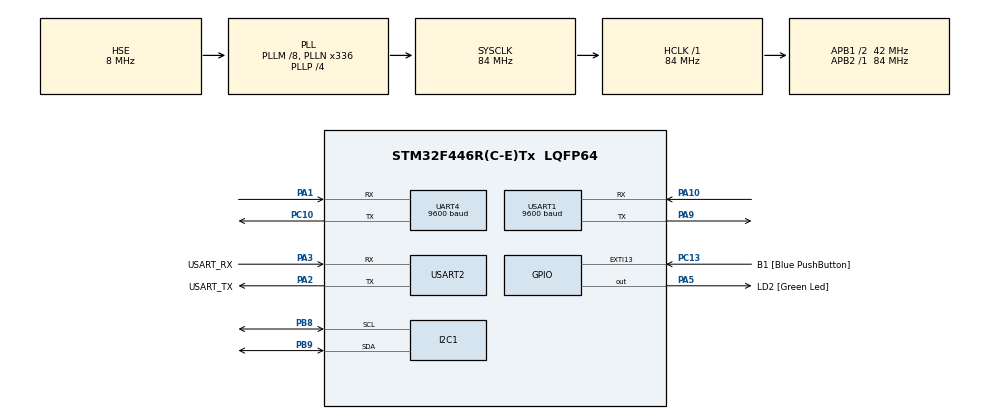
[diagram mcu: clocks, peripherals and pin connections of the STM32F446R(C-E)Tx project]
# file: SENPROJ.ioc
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Mcu.Family=STM32F4
Mcu.Name=STM32F446R(C-E)Tx
Mcu.Package=LQFP64
NVIC.PriorityGroup=NVIC_PRIORITYGROUP_0
NVIC.USART1_IRQn=true\:0\:0\:false\:false\:true\:true
PA0-WKUP.GPIO_Label=BlueButton
PA0-WKUP.Mode=SYS_WakeUp0
PA0-WKUP.Signal=SYS_WKUP0
PA1.Mode=Asynchronous
PA1.Signal=UART4_RX
PA10.Mode=Asynchronous
PA10.Signal=USART1_RX
PA13.GPIO_Label=TMS
PA13.Mode=Serial_Wire
PA13.Signal=SYS_JTMS-SWDIO
PA14.GPIO_Label=TCK
PA14.Mode=Serial_Wire
PA14.Signal=SYS_JTCK-SWCLK
PA2.GPIO_Label=USART_TX
PA2.Mode=Asynchronous
PA2.Signal=USART2_TX
PA3.GPIO_Label=USART_RX
PA3.Mode=Asynchronous
PA3.Signal=USART2_RX
PA5.GPIO_Label=LD2 [Green Led]
PA5.Signal=GPIO_Output
PA9.Mode=Asynchronous
PA9.Signal=USART1_TX
PB8.Mode=I2C
PB8.Signal=I2C1_SCL
PB9.Mode=I2C
PB9.Signal=I2C1_SDA
PC10.Mode=Asynchronous
PC10.Signal=UART4_TX
PC13.GPIO_Label=B1 [Blue PushButton]
PC13.GPIO_ModeDefaultEXTI=GPIO_MODE_IT_FALLING
PC13.Signal=GPXTI13
PC14-OSC32_IN.Mode=LSE-External-Oscillator
PC14-OSC32_IN.Signal=RCC_OSC32_IN
PC15-OSC32_OUT.Mode=LSE-External-Oscillator
PC15-OSC32_OUT.Signal=RCC_OSC32_OUT
PH0-OSC_IN.Mode=HSE-External-Oscillator
PH0-OSC_IN.Signal=RCC_OSC_IN
PH1-OSC_OUT.Mode=HSE-External-Oscillator
PH1-OSC_OUT.Signal=RCC_OSC_OUT
ProjectManager.HeapSize=0x200
ProjectManager.StackSize=0x400
ProjectManager.TargetToolchain=TrueSTUDIO
RCC.48MHZClocksFreq_Value=84000000
RCC.AHBFreq_Value=84000000
RCC.APB1CLKDivider=RCC_HCLK_DIV2
RCC.APB1Freq_Value=42000000
RCC.APB1TimFreq_Value=84000000
RCC.APB2Freq_Value=84000000
RCC.APB2TimFreq_Value=84000000
RCC.CortexFreq_Value=84000000
RCC.FLatency-AdvancedSettings=FLASH_LATENCY_2
RCC.HCLKFreq_Value=84000000
RCC.HSE_VALUE=8000000
RCC.HSI_VALUE=16000000
RCC.PLLM=8
RCC.PLLN=336
RCC.PLLP=RCC_PLLP_DIV4
RCC.PLLSourceVirtual=RCC_PLLSOURCE_HSE
RCC.SYSCLKFreq_VALUE=84000000
RCC.SYSCLKSource=RCC_SYSCLKSOURCE_PLLCLK
RCC.USBFreq_Value=168000000
RCC.VCOOutputFreq_Value=336000000
UART4.BaudRate=9600
UART4.VirtualMode=Asynchronous
USART1.BaudRate=9600
USART1.VirtualMode=VM_ASYNC
USART2.VirtualMode=VM_ASYNC
board=NUCLEO-F446RE

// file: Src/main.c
/**
  ******************************************************************************
  * @file           : main.c
  * @brief          : Main program body
  ******************************************************************************
  ** This notice applies to any and all portions of this file
  * that are not between comment pairs USER CODE BEGIN and
  * USER CODE END. Other portions of this file, whether
  * inserted by the user or by software development tools
  * are owned by their respective copyright owners.
  *
  * COPYRIGHT(c) 2018 STMicroelectronics
  *
  * Redistribution and use in source and binary forms, with or without modification,
  * are permitted provided that the following conditions are met:
  *   1. Redistributions of source code must retain the above copyright notice,
  *      this list of conditions and the following disclaimer.
  *   2. Redistributions in binary form must reproduce the above copyright notice,
  *      this list of conditions and the following disclaimer in the documentation
  *      and/or other materials provided with the distribution.
  *   3. Neither the name of STMicroelectronics nor the names of its contributors
  *      may be used to endorse or promote products derived from this software
  *      without specific prior written permission.
  *
  * THIS SOFTWARE IS PROVIDED BY THE COPYRIGHT HOLDERS AND CONTRIBUTORS "AS IS"
  * AND ANY EXPRESS OR IMPLIED WARRANTIES, INCLUDING, BUT NOT LIMITED TO, THE
  * IMPLIED WARRANTIES OF MERCHANTABILITY AND FITNESS FOR A PARTICULAR PURPOSE ARE
  * DISCLAIMED. IN NO EVENT SHALL THE COPYRIGHT HOLDER OR CONTRIBUTORS BE LIABLE
  * FOR ANY DIRECT, INDIRECT, INCIDENTAL, SPECIAL, EXEMPLARY, OR CONSEQUENTIAL
  * DAMAGES (INCLUDING, BUT NOT LIMITED TO, PROCUREMENT OF SUBSTITUTE GOODS OR
  * SERVICES; LOSS OF USE, DATA, OR PROFITS; OR BUSINESS INTERRUPTION) HOWEVER
  * CAUSED AND ON ANY THEORY OF LIABILITY, WHETHER IN CONTRACT, STRICT LIABILITY,
  * OR TORT (INCLUDING NEGLIGENCE OR OTHERWISE) ARISING IN ANY WAY OUT OF THE USE
  * OF THIS SOFTWARE, EVEN IF ADVISED OF THE POSSIBILITY OF SUCH DAMAGE.
  *
  ******************************************************************************
  */
#include "main.h"
#include "stm32f4xx_hal.h"

/* USER CODE BEGIN Includes */
#include <stdarg.h>
/* USER CODE END Includes */

I2C_HandleTypeDef hi2c1;

UART_HandleTypeDef huart4;
UART_HandleTypeDef huart1;
UART_HandleTypeDef huart2;

/* USER CODE BEGIN PV */
/* Private variables ---------------------------------------------------------*/

const size_t PRINT_DEBUG_BUFFER_SIZE = 512;
const uint8_t I2C_ADDR_ACC = 0b00111100; //0x1e << 1;
const int16_t ACC_CRASH_THRESHOLD = 30000;
uint8_t bluetooth_command = 0;
int16_t last_acc_x = 0, last_acc_y = 0, last_acc_z = 0, last_acc_abs = 0;
int16_t max_acc_x = 0, max_acc_y = 0, max_acc_z = 0, max_acc_abs = 0;

typedef enum {
	INIT_ACC, WAIT_FOR_CRASH, CRASHING, SEND_GPS
} state_t;

state_t state = INIT_ACC;

/* USER CODE END PV */

void SystemClock_Config(void);
static void MX_GPIO_Init(void);
static void MX_USART2_UART_Init(void);
static void MX_I2C1_Init(void);
static void MX_USART1_UART_Init(void);
static void MX_UART4_Init(void);

/* USER CODE BEGIN PFP */
/* Private function prototypes -----------------------------------------------*/

//void write_debug(char *str, uint16_t len);
static void write_debug(char *str, ...);
static uint8_t read_byte(uint8_t addr);
static int16_t read_short(uint8_t addr);
static int16_t absolute(int16_t val);
static HAL_StatusTypeDef read_gps_bytes(uint8_t buffer[], uint8_t len, uint32_t timeout);
static void get_gps_coordinate(int32_t *lat, int32_t *lon);
static void read_acc_data();
static uint8_t read_gps_byte();
void HAL_UART_RxCpltCallback(UART_HandleTypeDef *huart);

/* USER CODE END PFP */

int main(void)
{

  /* MCU Configuration----------------------------------------------------------*/

  /* Reset of all peripherals, Initializes the Flash interface and the Systick. */
  HAL_Init();

  /* Configure the system clock */
  SystemClock_Config();

  /* Initialize all configured peripherals */
  MX_GPIO_Init();
  MX_USART2_UART_Init();
  MX_I2C1_Init();
  MX_USART1_UART_Init();
  MX_UART4_Init();

  /* Infinite loop */
  /* USER CODE BEGIN WHILE */

  HAL_UART_Receive_IT(&huart1, &bluetooth_command, 1);

  while (1)
  {
	  uint8_t alive;
	  switch (state) {
	  case INIT_ACC:
		  alive = read_byte(0x0f);
		  if (alive == 0x49) {
			  uint8_t data[2] = {0x20, 0b01000111};
			  if (HAL_I2C_Master_Transmit(&hi2c1, I2C_ADDR_ACC, data, 2, 0xffff) == HAL_OK) {
				  //state = WAIT_FOR_CRASH;
				  state = SEND_GPS;
			  } else {
				  write_debug("Error while configuring acc.\r\n");
				  HAL_Delay(50);
			  }
		  } else {
			  write_debug("Acc is not connected yet.\r\n");
			  HAL_Delay(1000);
		  }
		  break;
	  case WAIT_FOR_CRASH:
		  // Read data from accelerometer
		  read_acc_data();
		  if (last_acc_abs > ACC_CRASH_THRESHOLD) {
			  state = CRASHING;
			  max_acc_x = last_acc_x;
			  max_acc_y = last_acc_y;
			  max_acc_z = last_acc_z;
			  max_acc_abs = last_acc_abs;
		  }

		  write_debug("Accel: %6d %6d %6d %6d\n", last_acc_x, last_acc_y, last_acc_z,
				  last_acc_abs);
		  HAL_Delay(25);
		  break;
	  case CRASHING:
		  write_debug("Crashing\n");

		  read_acc_data();
		  if (last_acc_abs < ACC_CRASH_THRESHOLD) {
			  state = SEND_GPS;
		  } else if (last_acc_abs > max_acc_abs) {
			  max_acc_x = last_acc_x;
			  max_acc_y = last_acc_y;
			  max_acc_z = last_acc_z;
			  max_acc_abs = last_acc_abs;
		  }
		  break;
	  case SEND_GPS:;
		  int32_t lat = 0, lon = 0;
		  get_gps_coordinate(&lat, &lon);
		  write_debug("Found GPS: lat=%d lon=%d\n", lat, lon);
		  uint8_t msg[100];
		  uint16_t msg_len = (uint16_t) snprintf(msg, 100, "crash;%d;%d;%d;%ld;%ld\r\n",
				  max_acc_x, max_acc_y, max_acc_z, lat, lon);
		  HAL_UART_Transmit(&huart1, msg, msg_len, 1000);
		  state = WAIT_FOR_CRASH;
		  HAL_Delay(500);
		  break;
	  }

  /* USER CODE END WHILE */

  }

}

void SystemClock_Config(void)
{

  RCC_OscInitTypeDef RCC_OscInitStruct;
  RCC_ClkInitTypeDef RCC_ClkInitStruct;

    /**Configure the main internal regulator output voltage
    */
  __HAL_RCC_PWR_CLK_ENABLE();

  __HAL_PWR_VOLTAGESCALING_CONFIG(PWR_REGULATOR_VOLTAGE_SCALE3);

    /**Initializes the CPU, AHB and APB busses clocks
    */
  RCC_OscInitStruct.OscillatorType = RCC_OSCILLATORTYPE_HSE;
  RCC_OscInitStruct.HSEState = RCC_HSE_ON;
  RCC_OscInitStruct.PLL.PLLState = RCC_PLL_ON;
  RCC_OscInitStruct.PLL.PLLSource = RCC_PLLSOURCE_HSE;
  RCC_OscInitStruct.PLL.PLLM = 8;
  RCC_OscInitStruct.PLL.PLLN = 336;
  RCC_OscInitStruct.PLL.PLLP = RCC_PLLP_DIV4;
  RCC_OscInitStruct.PLL.PLLQ = 2;
  RCC_OscInitStruct.PLL.PLLR = 2;
  if (HAL_RCC_OscConfig(&RCC_OscInitStruct) != HAL_OK)
  {
    _Error_Handler(__FILE__, __LINE__);
  }

    /**Initializes the CPU, AHB and APB busses clocks
    */
  RCC_ClkInitStruct.ClockType = RCC_CLOCKTYPE_HCLK|RCC_CLOCKTYPE_SYSCLK
                              |RCC_CLOCKTYPE_PCLK1|RCC_CLOCKTYPE_PCLK2;
  RCC_ClkInitStruct.SYSCLKSource = RCC_SYSCLKSOURCE_PLLCLK;
  RCC_ClkInitStruct.AHBCLKDivider = RCC_SYSCLK_DIV1;
  RCC_ClkInitStruct.APB1CLKDivider = RCC_HCLK_DIV2;
  RCC_ClkInitStruct.APB2CLKDivider = RCC_HCLK_DIV1;

  if (HAL_RCC_ClockConfig(&RCC_ClkInitStruct, FLASH_LATENCY_2) != HAL_OK)
  {
    _Error_Handler(__FILE__, __LINE__);
  }

    /**Configure the Systick interrupt time
    */
  HAL_SYSTICK_Config(HAL_RCC_GetHCLKFreq()/1000);

    /**Configure the Systick
    */
  HAL_SYSTICK_CLKSourceConfig(SYSTICK_CLKSOURCE_HCLK);

  /* SysTick_IRQn interrupt configuration */
  HAL_NVIC_SetPriority(SysTick_IRQn, 0, 0);
}

/* I2C1 init function */
static void MX_I2C1_Init(void)
{

  hi2c1.Instance = I2C1;
  hi2c1.Init.ClockSpeed = 100000;
  hi2c1.Init.DutyCycle = I2C_DUTYCYCLE_2;
  hi2c1.Init.OwnAddress1 = 0;
  hi2c1.Init.AddressingMode = I2C_ADDRESSINGMODE_7BIT;
  hi2c1.Init.DualAddressMode = I2C_DUALADDRESS_DISABLE;
  hi2c1.Init.OwnAddress2 = 0;
  hi2c1.Init.GeneralCallMode = I2C_GENERALCALL_DISABLE;
  hi2c1.Init.NoStretchMode = I2C_NOSTRETCH_DISABLE;
  if (HAL_I2C_Init(&hi2c1) != HAL_OK)
  {
    _Error_Handler(__FILE__, __LINE__);
  }

}

/* UART4 init function */
static void MX_UART4_Init(void)
{

  huart4.Instance = UART4;
  huart4.Init.BaudRate = 9600;
  huart4.Init.WordLength = UART_WORDLENGTH_8B;
  huart4.Init.StopBits = UART_STOPBITS_1;
  huart4.Init.Parity = UART_PARITY_NONE;
  huart4.Init.Mode = UART_MODE_TX_RX;
  huart4.Init.HwFlowCtl = UART_HWCONTROL_NONE;
  huart4.Init.OverSampling = UART_OVERSAMPLING_16;
  if (HAL_UART_Init(&huart4) != HAL_OK)
  {
    _Error_Handler(__FILE__, __LINE__);
  }

}

/* USART1 init function */
static void MX_USART1_UART_Init(void)
{

  huart1.Instance = USART1;
  huart1.Init.BaudRate = 9600;
  huart1.Init.WordLength = UART_WORDLENGTH_8B;
  huart1.Init.StopBits = UART_STOPBITS_1;
  huart1.Init.Parity = UART_PARITY_NONE;
  huart1.Init.Mode = UART_MODE_TX_RX;
  huart1.Init.HwFlowCtl = UART_HWCONTROL_NONE;
  huart1.Init.OverSampling = UART_OVERSAMPLING_16;
  if (HAL_UART_Init(&huart1) != HAL_OK)
  {
    _Error_Handler(__FILE__, __LINE__);
  }

}

/* USART2 init function */
static void MX_USART2_UART_Init(void)
{

  huart2.Instance = USART2;
  huart2.Init.BaudRate = 115200;
  huart2.Init.WordLength = UART_WORDLENGTH_8B;
  huart2.Init.StopBits = UART_STOPBITS_1;
  huart2.Init.Parity = UART_PARITY_NONE;
  huart2.Init.Mode = UART_MODE_TX_RX;
  huart2.Init.HwFlowCtl = UART_HWCONTROL_NONE;
  huart2.Init.OverSampling = UART_OVERSAMPLING_16;
  if (HAL_UART_Init(&huart2) != HAL_OK)
  {
    _Error_Handler(__FILE__, __LINE__);
  }

}

/** Configure pins as
        * Analog
        * Input
        * Output
        * EVENT_OUT
        * EXTI
*/
static void MX_GPIO_Init(void)
{

  GPIO_InitTypeDef GPIO_InitStruct;

  /* GPIO Ports Clock Enable */
  __HAL_RCC_GPIOC_CLK_ENABLE();
  __HAL_RCC_GPIOH_CLK_ENABLE();
  __HAL_RCC_GPIOA_CLK_ENABLE();
  __HAL_RCC_GPIOB_CLK_ENABLE();

  /*Configure GPIO pin Output Level */
  HAL_GPIO_WritePin(LD2_GPIO_Port, LD2_Pin, GPIO_PIN_RESET);

  /*Configure GPIO pin : B1_Pin */
  GPIO_InitStruct.Pin = B1_Pin;
  GPIO_InitStruct.Mode = GPIO_MODE_IT_FALLING;
  GPIO_InitStruct.Pull = GPIO_NOPULL;
  HAL_GPIO_Init(B1_GPIO_Port, &GPIO_InitStruct);

  /*Configure GPIO pin : LD2_Pin */
  GPIO_InitStruct.Pin = LD2_Pin;
  GPIO_InitStruct.Mode = GPIO_MODE_OUTPUT_PP;
  GPIO_InitStruct.Pull = GPIO_NOPULL;
  GPIO_InitStruct.Speed = GPIO_SPEED_FREQ_LOW;
  HAL_GPIO_Init(LD2_GPIO_Port, &GPIO_InitStruct);

}

/* USER CODE BEGIN 4 */

//void write_debug(char *str, uint16_t len) {
//	HAL_UART_Transmit(&huart2, (uint8_t *) str, len, 0xFFFF);
//}

void write_debug(char *str, ...) {
	char output_str[PRINT_DEBUG_BUFFER_SIZE];
	va_list args;
	va_start(args, str);
	int len = vsnprintf(output_str, PRINT_DEBUG_BUFFER_SIZE, str, args);
	va_end (args);

	if (len >= PRINT_DEBUG_BUFFER_SIZE) {
		len = PRINT_DEBUG_BUFFER_SIZE - 1;
	}

	HAL_UART_Transmit(&huart2, (uint8_t *) output_str, len, 0xffff);
}

uint8_t read_byte(uint8_t addr) {
	HAL_I2C_Master_Transmit(&hi2c1, I2C_ADDR_ACC, &addr, 1, 0xffff);
	uint8_t val;
	HAL_I2C_Master_Receive(&hi2c1, I2C_ADDR_ACC, &val, 1, 0xffff);
	return val;
}

int16_t read_short(uint8_t addr) {
	uint8_t b1 = read_byte(addr + 1);
	uint8_t b0 = read_byte(addr);
	int16_t out = b1 << 8 | b0;
	return out;
}

uint8_t read_gps_byte() {
	uint8_t buffer;
	if (HAL_UART_Receive(&huart4, &buffer, 1, 2000) == HAL_OK) {
		return buffer;
	} else {
		return 0x00;
	}
}

HAL_StatusTypeDef read_gps_bytes(uint8_t buffer[], uint8_t len, uint32_t timeout) {
	return HAL_UART_Receive(&huart4, buffer, len, timeout);
}

// Exmaple line: $GPGLL,4913.94625,N,01635.23247,E,102412.00,A,A*6F

void get_gps_coordinate(int32_t *lat, int32_t *lon) {

	// read_gps_byte

	// TODO
	*lat = 484519033;  // 491394222  // 49° 13.94222' N
	*lon = 175013900;  // 163523552  // 16° 35.23552' E
}

int16_t absolute(int16_t val) {
	if (val >= 0) {
		return val;
	} else if (val == -32768) {
		return 32767;
	} else {
		return -val;
	}
}

void read_acc_data() {
	last_acc_x = read_short(0x28);
	last_acc_y = read_short(0x2a);
	last_acc_z = read_short(0x2c);

	int16_t acc_abs = absolute(last_acc_x);
	int16_t tmp = absolute(last_acc_y);
	if (tmp > acc_abs) {
		acc_abs = tmp;
	}
	// Uncomment to care about the z-axis:
	// tmp = absolute(last_acc_z);
	// if (tmp > acc_abs) {
	//	 acc_abs = tmp;
	// }
	last_acc_abs = acc_abs;
}

void HAL_UART_RxCpltCallback(UART_HandleTypeDef *huart) {
  if (huart->Instance == USART1) {
    write_debug("Command received: %c\r\n", bluetooth_command);
    uint8_t msg[100];
    uint16_t msg_len;
    switch (bluetooth_command) {
    case 'a':  // Get accelerometer data
    	msg_len = (uint16_t) snprintf(msg, 100, "acc;%d;%d;%d\r\n",
			  last_acc_x, last_acc_y, last_acc_z);
		HAL_UART_Transmit(&huart1, msg, msg_len, 1000);
    	break;
    case 'g':;  // Get GPS data
    	int32_t lat = 0, lon = 0;
		get_gps_coordinate(&lat, &lon);
		msg_len = (uint16_t) snprintf(msg, 100, "gps;%d;%d\r\n", lat, lon);
		HAL_UART_Transmit(&huart1, msg, msg_len, 1000);
    	break;
    }
    HAL_UART_Receive_IT(&huart1, &bluetooth_command, 1);
  }
}

/* USER CODE END 4 */

void _Error_Handler(char *file, int line)
{
  while(1)
  {
  }
}

/************************ (C) COPYRIGHT STMicroelectronics *****END OF FILE****/
